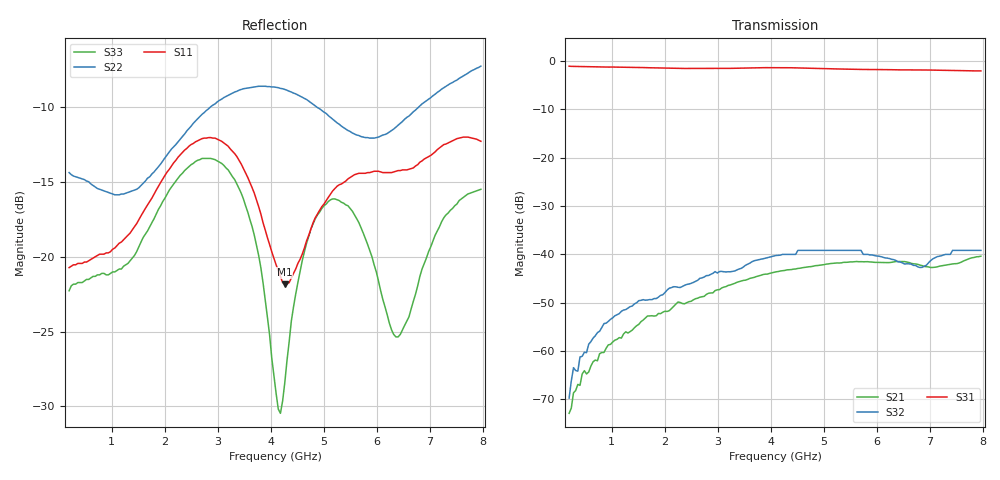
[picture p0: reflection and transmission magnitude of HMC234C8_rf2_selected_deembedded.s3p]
!Hittite Microwave Corporation
!12 Elizabeth Drive
!Chelmsford, MA 01824
!Tel: 978-250-3343
!Fax: 978-250-3373
!Device: HMC234C8, DC-8 GHz GaAs MMIC HIGH ISOLATION SPDT SWITCH in 8-lead ceramic package,
!Misc: Port1 = RFC, Port2 = RF1, Port3 = RF2, RF2 ON, Vctl=-5V, Room
# MHZ S MA R 50
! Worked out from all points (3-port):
!   190 points, 200 MHz to 7.96 GHz, reference 50 ohm
!   strongest paths, dB at 200 MHz, 2.13 GHz, 4.101 GHz, 6.03 GHz, 7.96 GHz:
!     S31: -1.0, -1.4, -1.3, -1.7, -2.0
!     S32: -69.8, -46.9, -40.2, -40.4, -39.2
!     S21: -72.9, -51.2, -43.6, -41.7, -40.4
!   lowest |S11| = -21.8 dB at 4.265 GHz (marker M1), VSWR 1.18, Z = 43.1 - j3.02 ohm
!   |S11| at or under -10 dB: start of sweep to end of sweep
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200  0.092 -9.3  0.0002993 -77.3  0.89 -8.5
     0.0002262 -61.6  0.191 170.3  0.0005025 56.8
     0.888 -8.5  0.0003248 59.9  0.077 -9.9
282.116  0.094 -13.4  0.0002977 -59.0  0.884 -11.5
         0.0003683 -95.3  0.186 167.5  0.0005389 60.7
         0.883 -11.5  0.000671 61.0  0.081 -15.1
856.931  0.102 -28.1  0.0009489 -141.8  0.872 -33.2
         0.0009647 -137.9  0.166 138.9  0.001867 75.0
         0.871 -33.1  0.00192 75.6  0.088 -30.4
2950.899  0.249 -44.1  0.0042 101.1  0.84 -109.1
          0.004217 99.9  0.324 38.2  0.006571 44.1
          0.84 -109.0  0.006635 44.4  0.211 -23.7
3648.889  0.17 -77.3  0.005735 68.6  0.854 -134.6
          0.005705 68.8  0.368 27.0  0.008437 33.1
          0.853 -134.5  0.008408 33.4  0.126 -35.0
4100.529  0.094 -125.0  0.006638 47.0  0.859 -152.3
          0.006598 47.1  0.368 20.0  0.009738 18.3
          0.859 -152.3  0.009748 18.2  0.035 -2.4
4264.762  0.081 -154.6  0.006804 39.0  0.858 -158.9
          0.006817 39.4  0.362 17.1  0.01 12.2
          0.857 -158.8  0.01 12.4  0.038 59.7
5126.984  0.162 122.3  0.008022 2.0  0.835 167.0
          0.008037 1.7  0.292 -8.4  0.011 -15.5
          0.834 167.0  0.011 -15.4  0.155 72.1
6399.788  0.194 117.7  0.008519 -49.6  0.814 116.9
          0.008436 -49.6  0.275 -81.4  0.008385 -47.4
          0.814 116.9  0.008381 -47.2  0.054 -49.1
7960  0.243 103.0  0.009616 -87.7  0.794 53.0
      0.009573 -87.6  0.433 -139.1  0.011 -63.2
      0.793 53.0  0.011 -63.1  0.168 -159.5
